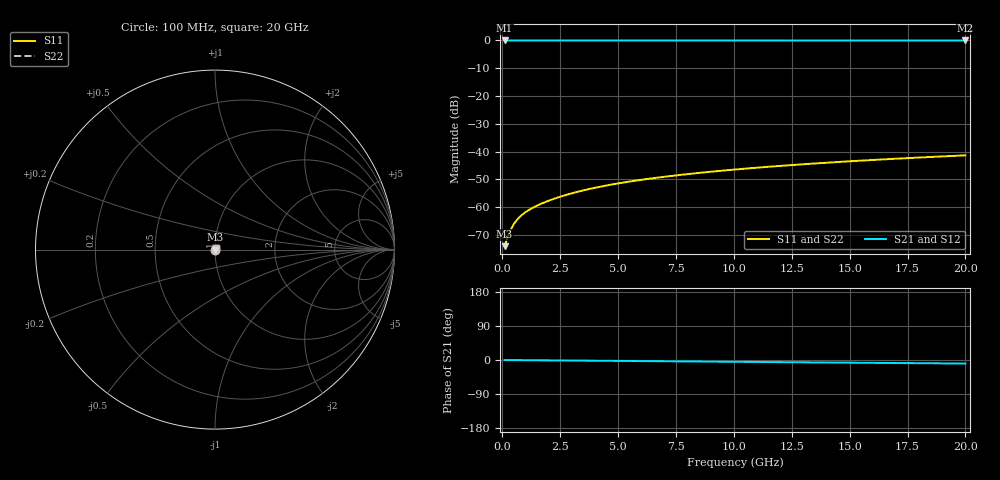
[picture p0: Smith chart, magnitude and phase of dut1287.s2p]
! Touchstone file exported from HFSS 2026.1.0
!  File:  C:/ffzhzh/LocalFiles/Ansys_Project_Files/temp_train_TSV_1287_1783194451_22436.aedt
!  Generated:  03:49:04 AM Jul  5, 2026
!  Design:  TSV
!  Project:  temp_train_TSV_1287_1783194451_22436
! Variables:
!  h_bsmrdl = 2um
!  h_ox = 20um
!  h_rdl = 5um
!  h_sub = 96.92um
!  h_tmrdl = 5um
!  h_tsv = 96.92um
!  h_via = 3um
!  l_bsmrdl = 300um
!  l_sub = 417.98um
!  l_tmrdl = 200um
!  m_sub = 200um
!  pitch = 38.93um
!  r_tsv = 8.99um
!  s_tmrdl = 10um
!  w_bsmrdl = 18um
!  w_sub = 500um
!  w_tmrdl = 12um
!  x_tsv_center1 = 206um
!  x_tsv_center2 = 524um
!  x_tsv_center3 = 736um
!  x_tsv_center4 = 1054um
!  x_tsv_center5 = 1266um
!  x_tsv_center6 = 1584um
# GHz S MA R 50.000000
! Terminal data exported
! Port[1] = TSV1_1_T1
! Port[2] = TSV1_1_T2
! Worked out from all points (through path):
!   200 points, 100 MHz to 20 GHz, reference 50 ohm
!   highest |S21| = 0.00 dB at 100 MHz (marker M1); lowest = 0.0 dB at 20 GHz (marker M2)
!   group delay of S21, straight-line fit = 1.3 ps
!   lowest |S11| = -74.0 dB at 100 MHz (marker M3), VSWR 1.00, Z = 50 + j0.00944 ohm
!   |S11| at or under -10 dB: start of sweep to end of sweep
!   |S22| runs from -74.0 to -41.3 dB; largest |S21 - S12| = 2.2e-15
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0.1  0.0001999 28.2  0.9998 -0.0  0.9998 -0.0  0.0001999 28.2
! Gamma 0 0 0 0
! Port Impedance 50 0 50 0
0.2  0.0002657 44.3  0.9998 -0.1  0.9998 -0.1  0.0002657 44.3
0.3  0.000344 52.1  0.9998 -0.1  0.9998 -0.1  0.000344 52.1
0.4  0.0004233 55.9  0.9998 -0.2  0.9998 -0.2  0.0004233 55.9
0.5  0.0004993 57.8  0.9997 -0.2  0.9997 -0.2  0.0004993 57.8
0.6  0.0005707 58.9  0.9997 -0.3  0.9997 -0.3  0.0005707 58.9
0.7  0.0006374 59.6  0.9997 -0.3  0.9997 -0.3  0.0006374 59.6
0.8  0.0006999 60.1  0.9997 -0.4  0.9997 -0.4  0.0006999 60.1
1  0.0008149 60.9  0.9996 -0.5  0.9996 -0.5  0.0008149 60.9
1.4  0.001022 62.5  0.9995 -0.7  0.9995 -0.7  0.001022 62.5
2  0.001312 64.9  0.9995 -1.0  0.9995 -1.0  0.001312 64.9
2.7  0.001643 66.9  0.9994 -1.3  0.9994 -1.3  0.001643 66.9
3.5  0.002015 68.4  0.9993 -1.7  0.9993 -1.7  0.002015 68.4
4.2  0.002333 69.2  0.9992 -2.0  0.9992 -2.0  0.002333 69.2
5  0.002688 69.8  0.9992 -2.4  0.9992 -2.4  0.002688 69.8
5.9  0.003077 70.2  0.9991 -2.8  0.9991 -2.8  0.003077 70.2
6.8  0.003457 70.5  0.999 -3.2  0.999 -3.2  0.003457 70.5
8.3  0.004074 70.9  0.9989 -3.9  0.9989 -3.9  0.004074 70.9
10.1  0.004799 71.0  0.9988 -4.7  0.9988 -4.7  0.004799 71.0
13.4  0.006098 70.9  0.9986 -6.3  0.9986 -6.3  0.006098 70.9
16.7  0.007364 70.3  0.9985 -7.8  0.9985 -7.8  0.007364 70.4
20  0.00859 69.5  0.9983 -9.3  0.9983 -9.3  0.00859 69.5
